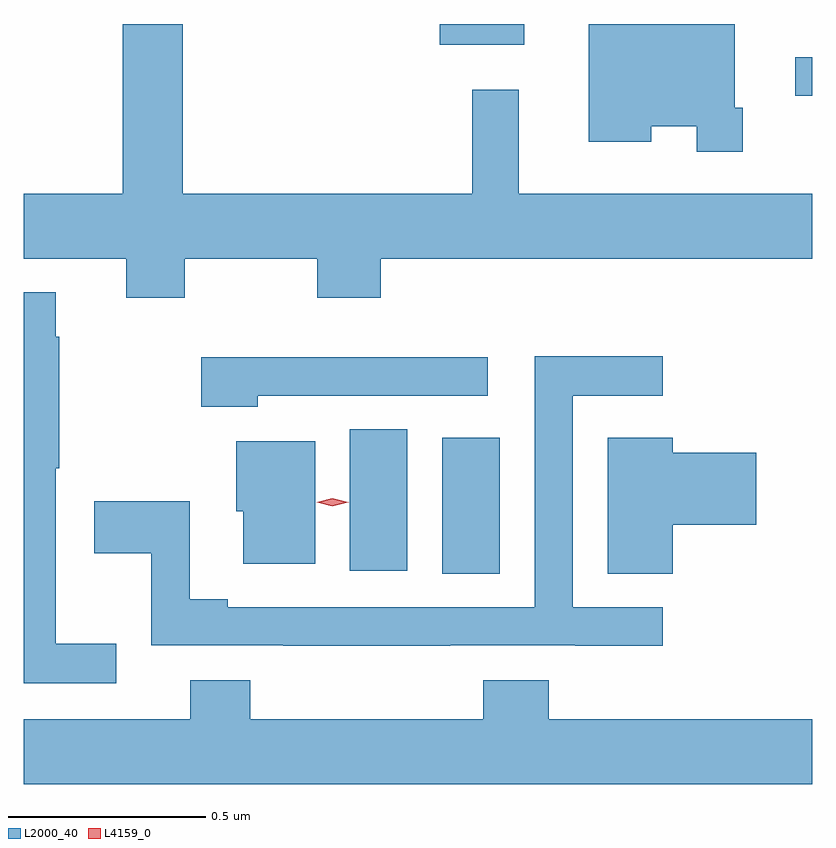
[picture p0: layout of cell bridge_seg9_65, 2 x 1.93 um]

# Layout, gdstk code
import gdstk
lib = gdstk.Library(unit=1e-6, precision=1e-09)
def R(c, l, rs):  # rectangles x0, y0, x1, y1
    for r in rs: c.add(gdstk.rectangle(r[:2], r[2:], *l))
def P(c, l, *ps):  # polygons
    for p in ps: c.add(gdstk.Polygon(p, *l))
L2000_40 = (2000, 40)
L4159_0 = (4159, 0)

bridge_seg9_65 = lib.new_cell('bridge_seg9_65')
R(bridge_seg9_65, L2000_40, [(1047.812,1179.637,1047.958,1179.982), (1047.578,1179.645,1047.724,1180.004), (1048.707,1180.849,1048.751,1180.947), (1047.806,1180.979,1048.021,1181.031)])
P(bridge_seg9_65, L2000_40, [(1047.159,1180.436),(1047.496,1180.436),(1047.496,1180.337),(1047.656,1180.337),(1047.656,1180.436),(1048.751,1180.436),(1048.751,1180.6),(1048.006,1180.6),(1048.006,1180.864),(1047.889,1180.864),(1047.889,1180.6),(1047.155,1180.6),(1047.155,1181.031),(1047.002,1181.031),(1047.002,1180.6),(1046.751,1180.6),(1046.751,1180.436),(1047.011,1180.436),(1047.011,1180.337),(1047.159,1180.337)],
  [(1048.574,1180.819),(1048.554,1180.819),(1048.554,1181.031),(1048.184,1181.031),(1048.184,1180.733),(1048.342,1180.733),(1048.342,1180.772),(1048.458,1180.772),(1048.458,1180.707),(1048.574,1180.707)],
  [(1046.986,1179.459),(1046.833,1179.459),(1046.833,1179.904),(1046.841,1179.904),(1046.841,1180.238),(1046.833,1180.238),(1046.833,1180.351),(1046.751,1180.351),(1046.751,1179.36),(1046.986,1179.36)],
  [(1047.833,1179.456),(1048.15,1179.456),(1048.15,1179.455),(1048.372,1179.455),(1048.372,1179.552),(1048.143,1179.552),(1048.143,1180.089),(1048.372,1180.089),(1048.372,1180.188),(1048.047,1180.188),(1048.047,1179.552),(1047.268,1179.552),(1047.268,1179.572),(1047.172,1179.572),(1047.172,1179.821),(1046.93,1179.821),(1046.93,1179.689),(1047.075,1179.689),(1047.075,1179.456),(1047.409,1179.456),(1047.409,1179.455),(1047.833,1179.455)],
  [(1047.345,1180.089),(1047.928,1180.089),(1047.928,1180.186),(1047.201,1180.186),(1047.201,1180.061),(1047.345,1180.061)],
  [(1048.397,1179.761),(1048.609,1179.761),(1048.609,1179.944),(1048.397,1179.944),(1048.397,1179.982),(1048.232,1179.982),(1048.232,1179.637),(1048.397,1179.637)],
  [(1047.49,1179.973),(1047.29,1179.973),(1047.29,1179.795),(1047.308,1179.795),(1047.308,1179.662),(1047.49,1179.662)],
  [(1048.751,1179.268),(1048.082,1179.268),(1048.082,1179.367),(1047.917,1179.367),(1047.917,1179.268),(1047.326,1179.268),(1047.326,1179.367),(1047.173,1179.367),(1047.173,1179.268),(1046.751,1179.268),(1046.751,1179.104),(1048.751,1179.104)])
P(bridge_seg9_65, L4159_0, [(1047.534,1179.808),(1047.494,1179.818),(1047.494,1179.818),(1047.494,1179.818),(1047.534,1179.828),(1047.574,1179.818),(1047.575,1179.818),(1047.574,1179.818)])

lib.write_gds('bridge_seg9_65.gds')
